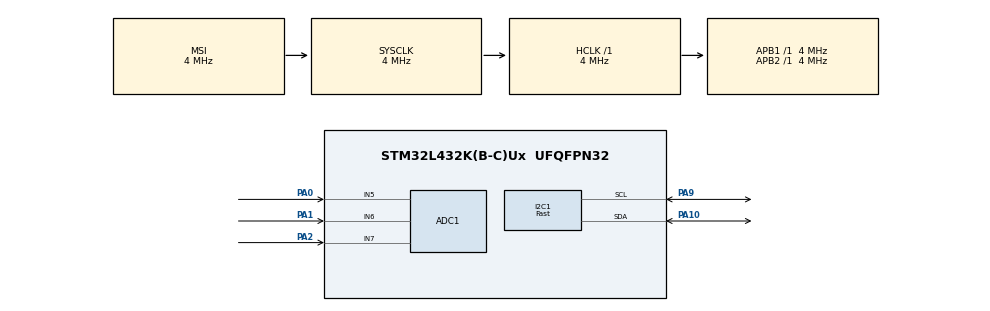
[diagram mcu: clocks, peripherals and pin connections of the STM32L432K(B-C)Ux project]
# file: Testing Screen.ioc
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ADC1.Channel-0\#ChannelRegularConversion=ADC_CHANNEL_5
ADC1.ContinuousConvMode=ENABLE
ADC1.NbrOfConversionFlag=1
ADC1.OffsetNumber-0\#ChannelRegularConversion=ADC_OFFSET_NONE
ADC1.Rank-0\#ChannelRegularConversion=1
ADC1.SamplingTime-0\#ChannelRegularConversion=ADC_SAMPLETIME_2CYCLES_5
ADC1.master=1
I2C1.I2C_Speed_Mode=I2C_Fast
I2C1.Timing=0x00000004
Mcu.Family=STM32L4
Mcu.Name=STM32L432K(B-C)Ux
Mcu.Package=UFQFPN32
NVIC.PriorityGroup=NVIC_PRIORITYGROUP_4
PA0.Signal=ADCx_IN5
PA1.Signal=ADCx_IN6
PA10.Mode=I2C
PA10.Signal=I2C1_SDA
PA13\ (JTMS-SWDIO).Mode=Serial_Wire
PA13\ (JTMS-SWDIO).Signal=SYS_JTMS-SWDIO
PA14\ (JTCK-SWCLK).Mode=Serial_Wire
PA14\ (JTCK-SWCLK).Signal=SYS_JTCK-SWCLK
PA2.Signal=ADCx_IN7
PA9.Mode=I2C
PA9.Signal=I2C1_SCL
PC14-OSC32_IN\ (PC14).Mode=LSE-External-Oscillator
PC14-OSC32_IN\ (PC14).Signal=RCC_OSC32_IN
PC15-OSC32_OUT\ (PC15).Mode=LSE-External-Oscillator
PC15-OSC32_OUT\ (PC15).Signal=RCC_OSC32_OUT
ProjectManager.HeapSize=0x200
ProjectManager.StackSize=0x400
ProjectManager.TargetToolchain=MDK-ARM V5
RCC.ADCFreq_Value=32000000
RCC.AHBFreq_Value=4000000
RCC.APB1Freq_Value=4000000
RCC.APB1TimFreq_Value=4000000
RCC.APB2Freq_Value=4000000
RCC.APB2TimFreq_Value=4000000
RCC.CortexFreq_Value=4000000
RCC.HCLKFreq_Value=4000000
RCC.HSE_VALUE=8000000
RCC.HSI48_VALUE=48000000
RCC.HSI_VALUE=16000000
RCC.MSI_VALUE=4000000
RCC.PLLSAI1N=16
RCC.SYSCLKFreq_VALUE=4000000
RCC.USBFreq_Value=32000000
RCC.VCOOutputFreq_Value=32000000
SH.ADCx_IN5.0=ADC1_IN5,IN5-Single-Ended
SH.ADCx_IN6.0=ADC1_IN6,IN6-Single-Ended
SH.ADCx_IN7.0=ADC1_IN7,IN7-Single-Ended
board=custom

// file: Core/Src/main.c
/* USER CODE BEGIN Header */
/**
  ******************************************************************************
  * @file           : main.c
  * @brief          : Main program body
  ******************************************************************************
  * @attention
  *
  * <h2><center>&copy; Copyright (c) 2021 STMicroelectronics.
  * All rights reserved.</center></h2>
  *
  * This software component is licensed by ST under BSD 3-Clause license,
  * the "License"; You may not use this file except in compliance with the
  * License. You may obtain a copy of the License at:
  *                        opensource.org/licenses/BSD-3-Clause
  *
  ******************************************************************************
  */
/* USER CODE END Header */
#include "main.h"

/* USER CODE BEGIN Includes */
#include "stdio.h"
#include "fonts.h"
#include "ssd1306.h"
#include "test.h"
#define adxl_address 0x53<<1
/* USER CODE END Includes */

ADC_HandleTypeDef hadc1;

I2C_HandleTypeDef hi2c1;

/* USER CODE BEGIN PV */

uint8_t data_rec[6];
uint8_t chipid=0;
int16_t x,y,z;
float xg, yg, zg;
char x_char[3], y_char[3], z_char[3];
/* USER CODE END PV */

void SystemClock_Config(void);
static void MX_GPIO_Init(void);
static void MX_I2C1_Init(void);
static void MX_ADC1_Init(void);

/* USER CODE BEGIN 0 */
void adxl_write (uint8_t reg, uint8_t value)
{
	uint8_t data[2];
	data[0] = reg;
	data[1] = value;
	HAL_I2C_Master_Transmit (&hi2c1, adxl_address, data, 2, 100);
}

void adxl_read_values (uint8_t reg)
{
	HAL_I2C_Mem_Read (&hi2c1, adxl_address, reg, 1, (uint8_t *)data_rec, 6, 100);
}

void adxl_read_address (uint8_t reg)
{
	HAL_I2C_Mem_Read (&hi2c1, adxl_address, reg, 1, &chipid, 1, 100);
}

void adxl_init (void)
{
	adxl_read_address (0x00); // read the DEVID

	adxl_write (0x31, 0x01);  // data_format range= +- 4g
	adxl_write (0x2d, 0x00);  // reset all bits
	adxl_write (0x2d, 0x08);  // power_cntl measure and wake up 8hz

}

void display_data (float data)
{
	sprintf (x_char, "% 4f", data);
    SSD1306_Puts (x_char, &Font_11x18, 1);
	SSD1306_UpdateScreen ();  // update display
}
/* USER CODE END 0 */

int main(void)
{

  /* MCU Configuration--------------------------------------------------------*/

  /* Reset of all peripherals, Initializes the Flash interface and the Systick. */
  HAL_Init();

  /* Configure the system clock */
  SystemClock_Config();

  /* Initialize all configured peripherals */
  MX_GPIO_Init();
  MX_I2C1_Init();
  MX_ADC1_Init();
  /* USER CODE BEGIN 2 */
	adxl_write (0x2d, 0x00);  // reset all bits

	adxl_write (0x2d, 0x08);  // measure and wake up 8hz

	adxl_write (0x31, 0x01);  // data_format range= +- 4g
	SSD1306_Init();

	SSD1306_GotoXY (10,10); // goto 10, 10
	SSD1306_Puts ("HELLO", &Font_11x18, 1); // print Hello
	SSD1306_GotoXY (10, 30);
	SSD1306_Puts ("WORLD !!", &Font_11x18, 1);
	SSD1306_UpdateScreen(); // update screen

	HAL_Delay(2000);

	SSD1306_ScrollRight(0x00, 0x0f);
	HAL_Delay(2000);

	SSD1306_ScrollLeft(0x00, 0x0f);
	HAL_Delay(2000);

	SSD1306_Stopscroll();
	SSD1306_Clear();
  /* USER CODE END 2 */

  /* Infinite loop */
  while (1)
  {
	  adxl_read_values (0x32);
		x = ((data_rec[1]<<8)|data_rec[0]);
		y = ((data_rec[3]<<8)|data_rec[2]);
		z = ((data_rec[5]<<8)|data_rec[4]);

		xg = x * .0078;
		yg = y * .0078;
		zg = z * .0078;

		SSD1306_GotoXY (16, 1);
		SSD1306_Puts ("X: ", &Font_11x18, 1);
		SSD1306_GotoXY (32, 1);
		display_data (xg);

		SSD1306_GotoXY (16, 20);
		SSD1306_Puts ("Y: ", &Font_11x18, 1);
		SSD1306_GotoXY (32, 20);
		display_data (yg);

		SSD1306_GotoXY (16, 40);
		SSD1306_Puts ("Z: ", &Font_11x18, 1);
		SSD1306_GotoXY (32, 40);
		display_data (zg);
		/*HAL_ADC_Start(&hadc1);
		HAL_ADC_PollForConversion(&hadc1, 100);
		x = HAL_ADC_GetValue(&hadc1);

		HAL_ADC_Start(&hadc1);
		HAL_ADC_PollForConversion(&hadc1, 100);
		y = HAL_ADC_GetValue(&hadc1);

		HAL_ADC_Start(&hadc1);
		HAL_ADC_PollForConversion(&hadc1, 100);
		z = HAL_ADC_GetValue(&hadc1);
		HAL_ADC_Stop(&hadc1);

		xx = ((x*3.3)/4095-1.65) /0.3;
		yy = ((y*3.3)/4095-1.65) /0.3;
		zz = ((z*3.3)/4095-1.65) /0.3;

		SSD1306_GotoXY (0,0);
		sprintf(str, "X = %.2f g", xx);
		SSD1306_Puts (str, &Font_11x18, 1);

		SSD1306_GotoXY (0,20);
		sprintf(str, "Y = %.2f g", yy);
		SSD1306_Puts (str, &Font_11x18, 1);

		SSD1306_GotoXY (0,40);
		sprintf(str, "Z = %.2f g", zz);
		SSD1306_Puts (str, &Font_11x18, 1);

		SSD1306_UpdateScreen();
		HAL_Delay(100);
		*/
  }
}

void SystemClock_Config(void)
{
  RCC_OscInitTypeDef RCC_OscInitStruct = {0};
  RCC_ClkInitTypeDef RCC_ClkInitStruct = {0};
  RCC_PeriphCLKInitTypeDef PeriphClkInit = {0};

  /** Configure LSE Drive Capability
  */
  HAL_PWR_EnableBkUpAccess();
  __HAL_RCC_LSEDRIVE_CONFIG(RCC_LSEDRIVE_LOW);
  /** Initializes the RCC Oscillators according to the specified parameters
  * in the RCC_OscInitTypeDef structure.
  */
  RCC_OscInitStruct.OscillatorType = RCC_OSCILLATORTYPE_LSE|RCC_OSCILLATORTYPE_MSI;
  RCC_OscInitStruct.LSEState = RCC_LSE_ON;
  RCC_OscInitStruct.MSIState = RCC_MSI_ON;
  RCC_OscInitStruct.MSICalibrationValue = 0;
  RCC_OscInitStruct.MSIClockRange = RCC_MSIRANGE_6;
  RCC_OscInitStruct.PLL.PLLState = RCC_PLL_NONE;
  if (HAL_RCC_OscConfig(&RCC_OscInitStruct) != HAL_OK)
  {
    Error_Handler();
  }
  /** Initializes the CPU, AHB and APB buses clocks
  */
  RCC_ClkInitStruct.ClockType = RCC_CLOCKTYPE_HCLK|RCC_CLOCKTYPE_SYSCLK
                              |RCC_CLOCKTYPE_PCLK1|RCC_CLOCKTYPE_PCLK2;
  RCC_ClkInitStruct.SYSCLKSource = RCC_SYSCLKSOURCE_MSI;
  RCC_ClkInitStruct.AHBCLKDivider = RCC_SYSCLK_DIV1;
  RCC_ClkInitStruct.APB1CLKDivider = RCC_HCLK_DIV1;
  RCC_ClkInitStruct.APB2CLKDivider = RCC_HCLK_DIV1;

  if (HAL_RCC_ClockConfig(&RCC_ClkInitStruct, FLASH_LATENCY_0) != HAL_OK)
  {
    Error_Handler();
  }
  PeriphClkInit.PeriphClockSelection = RCC_PERIPHCLK_I2C1|RCC_PERIPHCLK_ADC;
  PeriphClkInit.I2c1ClockSelection = RCC_I2C1CLKSOURCE_PCLK1;
  PeriphClkInit.AdcClockSelection = RCC_ADCCLKSOURCE_PLLSAI1;
  PeriphClkInit.PLLSAI1.PLLSAI1Source = RCC_PLLSOURCE_MSI;
  PeriphClkInit.PLLSAI1.PLLSAI1M = 1;
  PeriphClkInit.PLLSAI1.PLLSAI1N = 16;
  PeriphClkInit.PLLSAI1.PLLSAI1P = RCC_PLLP_DIV7;
  PeriphClkInit.PLLSAI1.PLLSAI1Q = RCC_PLLQ_DIV2;
  PeriphClkInit.PLLSAI1.PLLSAI1R = RCC_PLLR_DIV2;
  PeriphClkInit.PLLSAI1.PLLSAI1ClockOut = RCC_PLLSAI1_ADC1CLK;
  if (HAL_RCCEx_PeriphCLKConfig(&PeriphClkInit) != HAL_OK)
  {
    Error_Handler();
  }
  /** Configure the main internal regulator output voltage
  */
  if (HAL_PWREx_ControlVoltageScaling(PWR_REGULATOR_VOLTAGE_SCALE1) != HAL_OK)
  {
    Error_Handler();
  }
  /** Enable MSI Auto calibration
  */
  HAL_RCCEx_EnableMSIPLLMode();
}

static void MX_ADC1_Init(void)
{

  ADC_ChannelConfTypeDef sConfig = {0};

  /** Common config
  */
  hadc1.Instance = ADC1;
  hadc1.Init.ClockPrescaler = ADC_CLOCK_ASYNC_DIV1;
  hadc1.Init.Resolution = ADC_RESOLUTION_12B;
  hadc1.Init.DataAlign = ADC_DATAALIGN_RIGHT;
  hadc1.Init.ScanConvMode = ADC_SCAN_DISABLE;
  hadc1.Init.EOCSelection = ADC_EOC_SINGLE_CONV;
  hadc1.Init.LowPowerAutoWait = DISABLE;
  hadc1.Init.ContinuousConvMode = ENABLE;
  hadc1.Init.NbrOfConversion = 1;
  hadc1.Init.DiscontinuousConvMode = DISABLE;
  hadc1.Init.ExternalTrigConv = ADC_SOFTWARE_START;
  hadc1.Init.ExternalTrigConvEdge = ADC_EXTERNALTRIGCONVEDGE_NONE;
  hadc1.Init.DMAContinuousRequests = DISABLE;
  hadc1.Init.Overrun = ADC_OVR_DATA_PRESERVED;
  hadc1.Init.OversamplingMode = DISABLE;
  if (HAL_ADC_Init(&hadc1) != HAL_OK)
  {
    Error_Handler();
  }
  /** Configure Regular Channel
  */
  sConfig.Channel = ADC_CHANNEL_5;
  sConfig.Rank = ADC_REGULAR_RANK_1;
  sConfig.SamplingTime = ADC_SAMPLETIME_2CYCLES_5;
  sConfig.SingleDiff = ADC_SINGLE_ENDED;
  sConfig.OffsetNumber = ADC_OFFSET_NONE;
  sConfig.Offset = 0;
  if (HAL_ADC_ConfigChannel(&hadc1, &sConfig) != HAL_OK)
  {
    Error_Handler();
  }

}

static void MX_I2C1_Init(void)
{

  hi2c1.Instance = I2C1;
  hi2c1.Init.Timing = 0x00000004;
  hi2c1.Init.OwnAddress1 = 0;
  hi2c1.Init.AddressingMode = I2C_ADDRESSINGMODE_7BIT;
  hi2c1.Init.DualAddressMode = I2C_DUALADDRESS_DISABLE;
  hi2c1.Init.OwnAddress2 = 0;
  hi2c1.Init.OwnAddress2Masks = I2C_OA2_NOMASK;
  hi2c1.Init.GeneralCallMode = I2C_GENERALCALL_DISABLE;
  hi2c1.Init.NoStretchMode = I2C_NOSTRETCH_DISABLE;
  if (HAL_I2C_Init(&hi2c1) != HAL_OK)
  {
    Error_Handler();
  }
  /** Configure Analogue filter
  */
  if (HAL_I2CEx_ConfigAnalogFilter(&hi2c1, I2C_ANALOGFILTER_ENABLE) != HAL_OK)
  {
    Error_Handler();
  }
  /** Configure Digital filter
  */
  if (HAL_I2CEx_ConfigDigitalFilter(&hi2c1, 0) != HAL_OK)
  {
    Error_Handler();
  }

}

static void MX_GPIO_Init(void)
{

  /* GPIO Ports Clock Enable */
  __HAL_RCC_GPIOC_CLK_ENABLE();
  __HAL_RCC_GPIOA_CLK_ENABLE();

}

void Error_Handler(void)
{
  __disable_irq();
  while (1)
  {
  }
}

/************************ (C) COPYRIGHT STMicroelectronics *****END OF FILE****/
